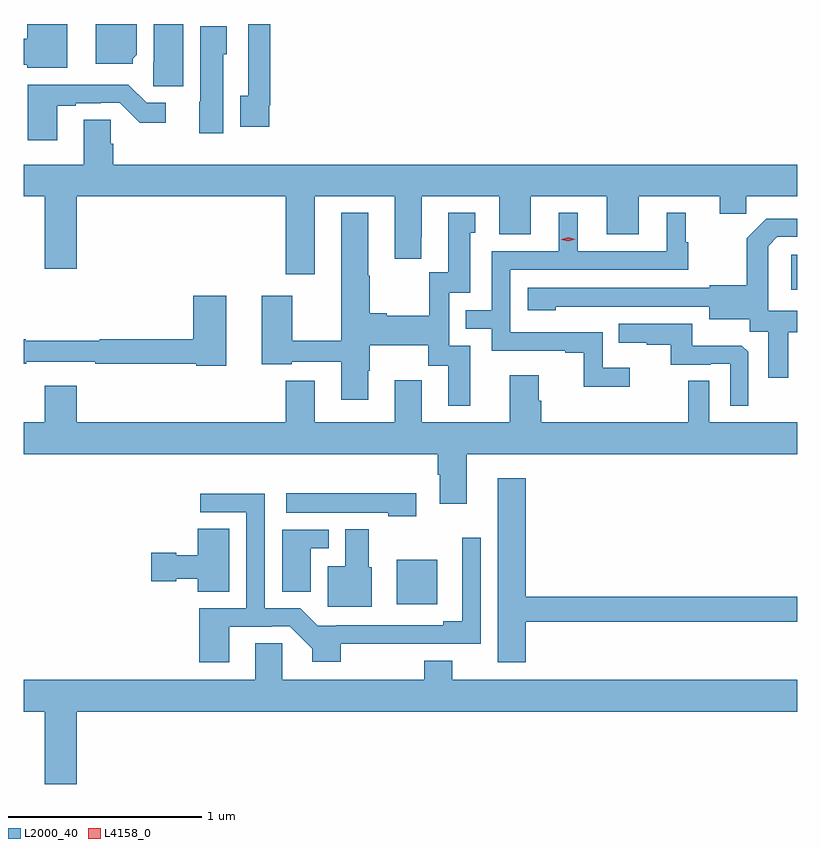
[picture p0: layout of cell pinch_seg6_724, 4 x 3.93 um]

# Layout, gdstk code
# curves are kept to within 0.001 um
import gdstk
lib = gdstk.Library(unit=1e-6, precision=1e-09)
def R(c, l, rs):  # rectangles x0, y0, x1, y1
    for r in rs: c.add(gdstk.rectangle(r[:2], r[2:], *l))
def P(c, l, *ps):  # polygons
    for p in ps: c.add(gdstk.Polygon(p, *l))
L2000_40 = (2000, 40)
L4158_0 = (4158, 0)

pinch_seg6_724 = lib.new_cell('pinch_seg6_724')
R(pinch_seg6_724, L2000_40, [(562.433,943.895,562.642,944.125), (564.473,945.522,564.503,945.702)])
P(pinch_seg6_724, L2000_40, [(561.328,946.896),(561.176,946.896),(561.176,946.698),(561.172,946.698),(561.172,946.575),(561.328,946.575)],
  [(561.066,946.716),(561.088,946.738),(561.088,946.896),(560.876,946.896),(560.876,946.691),(561.066,946.691)],
  [(560.728,946.896),(560.522,946.896),(560.522,946.82),(560.503,946.82),(560.503,946.684),(560.522,946.684),(560.522,946.67),(560.728,946.67)],
  [(561.772,946.477),(561.779,946.477),(561.779,946.896),(561.663,946.896),(561.663,946.526),(561.623,946.526),(561.623,946.365),(561.772,946.365)],
  [(561.535,946.74),(561.553,946.74),(561.553,946.885),(561.416,946.885),(561.416,946.494),(561.41,946.494),(561.41,946.332),(561.535,946.332)],
  [(560.677,946.473),(560.773,946.473),(560.773,946.485),(560.9,946.485),(560.9,946.488),(561,946.488),(561.103,946.386),(561.238,946.386),(561.238,946.488),(561.138,946.488),(561.044,946.582),(560.525,946.582),(560.525,946.296),(560.677,946.296)],
  [(562.009,946.004),(562.421,946.004),(562.421,945.681),(562.558,945.681),(562.558,945.793),(562.561,945.793),(562.561,946.004),(562.961,946.004),(562.961,945.81),(563.125,945.81),(563.125,946.004),(563.519,946.004),(563.519,945.81),(563.683,945.81),(563.683,946.004),(564.101,946.004),(564.101,945.914),(564.239,945.914),(564.239,946.004),(564.503,946.004),(564.503,946.168),(560.966,946.168),(560.966,946.278),(560.952,946.278),(560.952,946.4),(560.813,946.4),(560.813,946.168),(560.503,946.168),(560.503,946.004),(560.612,946.004),(560.612,945.63),(560.776,945.63),(560.776,946.004),(561.857,946.004),(561.857,945.603),(562.009,945.603)],
  [(563.638,945.118),(563.496,945.118),(563.496,945.303),(563.019,945.303),(563.019,945.624),(563.938,945.624),(563.938,945.768),(563.926,945.768),(563.926,945.919),(563.828,945.919),(563.828,945.72),(563.368,945.72),(563.368,945.919),(563.27,945.919),(563.27,945.72),(562.923,945.72),(562.923,945.417),(562.789,945.417),(562.789,945.321),(562.923,945.321),(562.923,945.207),(563.303,945.207),(563.303,945.195),(563.398,945.195),(563.398,945.02),(563.638,945.02)],
  [(562.813,945.231),(562.704,945.231),(562.704,945.507),(562.813,945.507),(562.813,945.816),(562.837,945.816),(562.837,945.919),(562.697,945.919),(562.697,945.612),(562.601,945.612),(562.601,945.388),(562.381,945.388),(562.381,945.401),(562.293,945.401),(562.293,945.593),(562.285,945.593),(562.285,945.919),(562.145,945.919),(562.145,945.259),(561.892,945.259),(561.892,945.49),(561.734,945.49),(561.734,945.137),(561.888,945.137),(561.888,945.15),(562.145,945.15),(562.145,944.952),(562.285,944.952),(562.285,945.102),(562.293,945.102),(562.293,945.236),(562.596,945.236),(562.596,945.13),(562.697,945.13),(562.697,944.922),(562.813,944.922)],
  [(564.457,945.302),(564.503,945.302),(564.503,945.412),(564.354,945.412),(564.354,945.653),(564.352,945.653),(564.352,945.748),(564.399,945.795),(564.503,945.795),(564.503,945.889),(564.343,945.889),(564.243,945.789),(564.243,945.544),(564.051,945.544),(564.051,945.531),(563.109,945.531),(563.109,945.416),(563.253,945.416),(563.253,945.434),(564.047,945.435),(564.047,945.368),(564.258,945.368),(564.258,945.304),(564.353,945.304),(564.353,945.066),(564.457,945.066)],
  [(561.55,945.49),(561.38,945.49),(561.38,945.266),(560.896,945.266),(560.896,945.259),(560.514,945.259),(560.514,945.266),(560.503,945.266),(560.503,945.138),(560.516,945.138),(560.516,945.15),(560.872,945.15),(560.872,945.138),(561.396,945.138),(561.396,945.13),(561.55,945.13)],
  [(564.249,945.201),(564.217,945.233),(563.959,945.233),(563.959,945.345),(563.581,945.345),(563.581,945.248),(563.725,945.248),(563.725,945.237),(563.849,945.237),(563.849,945.135),(564.056,945.135),(564.056,945.138),(564.156,945.138),(564.156,944.921),(564.249,944.921)],
  [(562.795,944.672),(564.503,944.672),(564.503,944.836),(564.048,944.836),(564.048,945.05),(563.94,945.05),(563.94,944.836),(563.18,944.836),(563.18,944.949),(563.167,944.949),(563.167,945.079),(563.015,945.079),(563.015,944.836),(562.561,944.836),(562.561,945.055),(562.421,945.055),(562.421,944.836),(562.009,944.836),(562.009,945.052),(561.857,945.052),(561.857,944.836),(560.776,944.836),(560.776,945.025),(560.612,945.025),(560.612,944.836),(560.503,944.836),(560.503,944.672),(562.643,944.672),(562.643,944.566),(562.655,944.566),(562.655,944.415),(562.795,944.415)],
  [(563.099,943.806),(564.503,943.806),(564.503,943.934),(563.099,943.934),(563.099,944.548),(562.955,944.548),(562.955,943.596),(563.099,943.596)],
  [(562.534,944.47),(561.861,944.47),(561.861,944.369),(562.389,944.369),(562.389,944.351),(562.534,944.351)],
  [(561.565,943.779),(561.785,943.779),(561.785,943.782),(561.879,943.782),(561.995,943.666),(561.995,943.598),(562.143,943.598),(562.143,943.691),(562.866,943.692),(562.866,944.239),(562.77,944.239),(562.77,943.808),(562.673,943.808),(562.673,943.788),(562.12,943.788),(562.12,943.785),(562.024,943.785),(561.934,943.875),(561.75,943.875),(561.75,944.468),(561.417,944.468),(561.417,944.37),(561.654,944.37),(561.654,943.875),(561.41,943.875),(561.41,943.596),(561.565,943.596)],
  [(561.565,944.285),(561.404,944.285),(561.404,944.149),(561.291,944.149),(561.291,944.162),(561.162,944.162),(561.162,944.015),(561.291,944.015),(561.291,944.027),(561.404,944.027),(561.404,943.96),(561.565,943.96)],
  [(562.303,944.088),(562.288,944.088),(562.288,944.284),(562.166,944.284),(562.166,944.092),(562.076,944.092),(562.076,943.883),(562.303,943.883)],
  [(561.988,944.184),(562.081,944.184),(562.081,944.28),(561.839,944.28),(561.839,943.96),(561.988,943.96)],
  [(560.776,943.34),(564.503,943.34),(564.503,943.504),(562.72,943.504),(562.72,943.603),(562.573,943.603),(562.573,943.504),(561.84,943.504),(561.84,943.694),(561.701,943.694),(561.701,943.504),(560.503,943.504),(560.503,943.34),(560.612,943.34),(560.612,942.966),(560.776,942.966)])
P(pinch_seg6_724, L4158_0, [(563.319,945.772),(563.284,945.781),(563.283,945.781),(563.284,945.782),(563.319,945.792),(563.354,945.784),(563.355,945.784),(563.354,945.783)])

lib.write_gds('pinch_seg6_724.gds')
